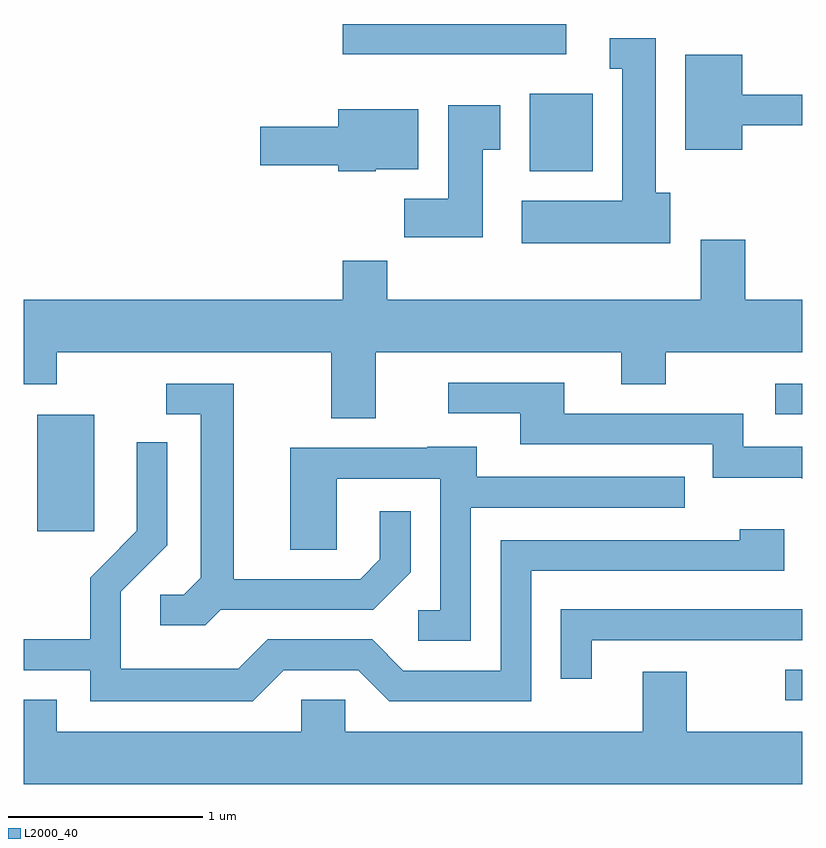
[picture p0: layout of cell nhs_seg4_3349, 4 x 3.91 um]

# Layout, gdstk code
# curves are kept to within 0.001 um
import gdstk
lib = gdstk.Library(unit=1e-6, precision=1e-09)
def R(c, l, rs):  # rectangles x0, y0, x1, y1
    for r in rs: c.add(gdstk.rectangle(r[:2], r[2:], *l))
def P(c, l, *ps):  # polygons
    for p in ps: c.add(gdstk.Polygon(p, *l))
L2000_40 = (2000, 40)

nhs_seg4_3349 = lib.new_cell('nhs_seg4_3349')
R(nhs_seg4_3349, L2000_40, [(287.523,1288.506,287.611,1288.664), (283.681,1289.376,283.974,1289.974), (287.473,1289.976,287.611,1290.134), (286.211,1291.226,286.534,1291.624), (285.251,1291.826,286.399,1291.982)])
P(nhs_seg4_3349, L2000_40, [(286.934,1291.114),(286.859,1291.114),(286.859,1291.909),(286.623,1291.909),(286.623,1291.751),(286.686,1291.751),(286.686,1291.074),(286.171,1291.074),(286.171,1290.856),(286.934,1290.856)],
  [(287.304,1291.461),(287.611,1291.461),(287.611,1291.619),(287.304,1291.619),(287.304,1291.824),(287.011,1291.824),(287.011,1291.336),(287.304,1291.336)],
  [(285.969,1291.336),(286.059,1291.336),(286.059,1291.564),(285.791,1291.564),(285.791,1291.084),(285.566,1291.084),(285.566,1290.886),(285.969,1290.886)],
  [(285.42,1291.236),(285.639,1291.236),(285.639,1291.544),(285.226,1291.544),(285.226,1291.454),(284.826,1291.454),(284.826,1291.256),(285.226,1291.256),(285.226,1291.226),(285.42,1291.226)],
  [(285.419,1290.296),(286.681,1290.296),(286.681,1290.131),(286.909,1290.131),(286.909,1290.296),(287.611,1290.296),(287.611,1290.564),(287.319,1290.564),(287.319,1290.874),(287.091,1290.874),(287.091,1290.564),(285.479,1290.564),(285.479,1290.764),(285.251,1290.764),(285.251,1290.564),(283.611,1290.564),(283.611,1290.131),(283.779,1290.131),(283.779,1290.296),(285.191,1290.296),(285.191,1289.956),(285.419,1289.956)],
  [(287.611,1289.809),(287.309,1289.809),(287.309,1289.979),(286.389,1289.979),(286.389,1290.139),(285.793,1290.139),(285.793,1289.981),(286.161,1289.981),(286.161,1289.821),(287.151,1289.821),(287.151,1289.651),(287.604,1289.651),(287.611,1289.644)],
  [(284.622,1288.971),(285.407,1288.971),(285.599,1289.164),(285.599,1289.478),(285.441,1289.478),(285.441,1289.232),(285.339,1289.129),(284.689,1289.129),(284.689,1290.134),(284.343,1290.134),(284.343,1289.976),(284.521,1289.976),(284.521,1289.137),(284.434,1289.049),(284.313,1289.049),(284.313,1288.891),(284.542,1288.891)],
  [(284.947,1288.661),(285.329,1288.661),(285.489,1288.501),(286.219,1288.501),(286.219,1289.171),(287.519,1289.171),(287.519,1289.384),(287.291,1289.384),(287.291,1289.329),(286.061,1289.329),(286.061,1288.659),(285.562,1288.659),(285.402,1288.819),(284.864,1288.819),(284.714,1288.669),(284.109,1288.669),(284.109,1289.064),(284.349,1289.304),(284.349,1289.833),(284.191,1289.833),(284.191,1289.377),(283.951,1289.137),(283.951,1288.819),(283.611,1288.819),(283.611,1288.661),(283.951,1288.661),(283.951,1288.501),(284.787,1288.501)],
  [(285.909,1289.496),(287.008,1289.496),(287.008,1289.654),(285.939,1289.654),(285.939,1289.809),(285.685,1289.809),(285.685,1289.804),(284.981,1289.804),(284.981,1289.281),(285.219,1289.281),(285.219,1289.646),(285.751,1289.646),(285.751,1288.969),(285.638,1288.969),(285.638,1288.811),(285.909,1288.811)],
  [(286.529,1288.816),(287.611,1288.816),(287.611,1288.974),(286.371,1288.974),(286.371,1288.618),(286.529,1288.618)],
  [(287.611,1288.344),(287.019,1288.344),(287.019,1288.654),(286.791,1288.654),(286.791,1288.344),(285.264,1288.344),(285.264,1288.509),(285.036,1288.509),(285.036,1288.344),(283.779,1288.344),(283.779,1288.509),(283.611,1288.509),(283.611,1288.076),(287.611,1288.076)])

lib.write_gds('nhs_seg4_3349.gds')
